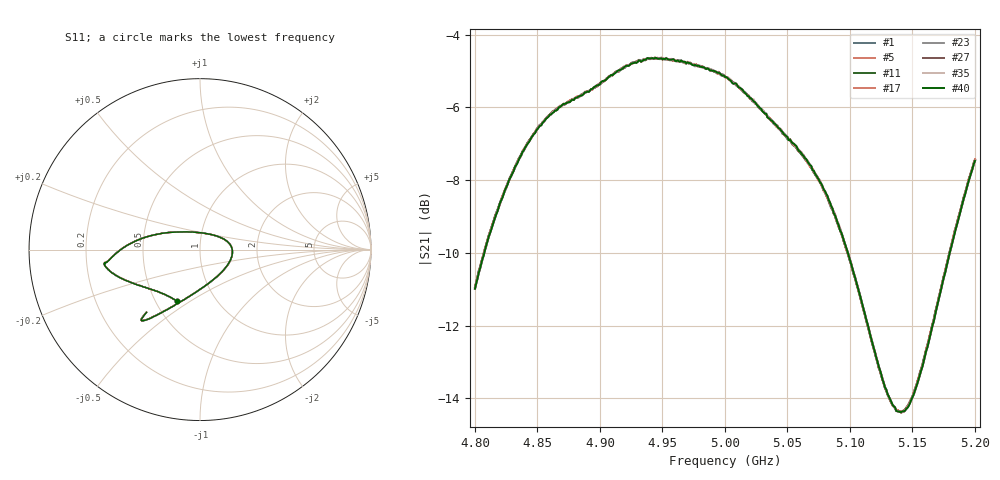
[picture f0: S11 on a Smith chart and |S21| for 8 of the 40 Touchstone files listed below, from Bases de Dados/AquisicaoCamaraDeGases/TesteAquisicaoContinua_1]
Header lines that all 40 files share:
! Network Analyzer HP8722D
! Hewlett-Packard
! Data name: Linha & Wilkinson
! Saver's name: Rodrigo Anjos
! Comments: Teste da utilização de aquisição
! continua pelo VNA HP8722D
!  Frequency  S11  S21  S12  S22
# HZ  S  MA R 50
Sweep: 4.8 GHz to 5.2 GHz
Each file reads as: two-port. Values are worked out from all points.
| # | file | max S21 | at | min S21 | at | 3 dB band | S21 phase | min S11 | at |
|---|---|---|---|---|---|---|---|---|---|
| 1 | teste_arseco&borbulhador_40.S2P | -4.63 dB | 4.949 GHz | -14.4 dB | 5.141 GHz | 4.833 GHz-5.068 GHz | -111 deg at 5 GHz | -20.2 dB | 5.007 GHz |
| 2 | teste_arseco&borbulhador_41.S2P | -4.63 dB | 4.944 GHz | -14.4 dB | 5.141 GHz | 4.832 GHz-5.068 GHz | -111 deg at 5 GHz | -20.2 dB | 5.007 GHz |
| 3 | teste_arseco&borbulhador_42.S2P | -4.64 dB | 4.945 GHz | -14.4 dB | 5.141 GHz | 4.832 GHz-5.068 GHz | -111 deg at 5 GHz | -20.2 dB | 5.007 GHz |
| 4 | teste_arseco&borbulhador_43.S2P | -4.64 dB | 4.941 GHz | -14.4 dB | 5.141 GHz | 4.832 GHz-5.068 GHz | -111 deg at 5 GHz | -20.3 dB | 5.007 GHz |
| 5 | teste_arseco&borbulhador_44.S2P | -4.64 dB | 4.944 GHz | -14.4 dB | 5.141 GHz | 4.832 GHz-5.069 GHz | -111 deg at 5 GHz | -20.2 dB | 5.007 GHz |
| 6 | teste_arseco&borbulhador_45.S2P | -4.63 dB | 4.949 GHz | -14.4 dB | 5.141 GHz | 4.833 GHz-5.068 GHz | -111 deg at 5 GHz | -20.2 dB | 5.007 GHz |
| 7 | teste_arseco&borbulhador_46.S2P | -4.63 dB | 4.941 GHz | -14.4 dB | 5.141 GHz | 4.832 GHz-5.068 GHz | -111 deg at 5 GHz | -20.2 dB | 5.007 GHz |
| 8 | teste_arseco&borbulhador_47.S2P | -4.64 dB | 4.944 GHz | -14.4 dB | 5.141 GHz | 4.832 GHz-5.067 GHz | -111 deg at 5 GHz | -20.2 dB | 5.007 GHz |
| 9 | teste_arseco&borbulhador_48.S2P | -4.63 dB | 4.944 GHz | -14.4 dB | 5.139 GHz | 4.833 GHz-5.068 GHz | -111 deg at 5 GHz | -20.2 dB | 5.007 GHz |
| 10 | teste_arseco&borbulhador_49.S2P | -4.63 dB | 4.944 GHz | -14.4 dB | 5.141 GHz | 4.833 GHz-5.068 GHz | -111 deg at 5 GHz | -20.2 dB | 5.005 GHz |
| 11 | teste_arseco&borbulhador_50.S2P | -4.64 dB | 4.948 GHz | -14.4 dB | 5.141 GHz | 4.832 GHz-5.068 GHz | -111 deg at 5 GHz | -20.2 dB | 5.007 GHz |
| 12 | teste_arseco&borbulhador_51.S2P | -4.64 dB | 4.944 GHz | -14.4 dB | 5.141 GHz | 4.832 GHz-5.068 GHz | -111 deg at 5 GHz | -20.2 dB | 5.007 GHz |
| 13 | teste_arseco&borbulhador_52.S2P | -4.64 dB | 4.946 GHz | -14.4 dB | 5.141 GHz | 4.832 GHz-5.068 GHz | -111 deg at 5 GHz | -20.2 dB | 5.007 GHz |
| 14 | teste_arseco&borbulhador_53.S2P | -4.64 dB | 4.948 GHz | -14.4 dB | 5.141 GHz | 4.832 GHz-5.068 GHz | -111 deg at 5 GHz | -20.2 dB | 5.007 GHz |
| 15 | teste_arseco&borbulhador_54.S2P | -4.63 dB | 4.944 GHz | -14.4 dB | 5.141 GHz | 4.832 GHz-5.068 GHz | -111 deg at 5 GHz | -20.2 dB | 5.007 GHz |
| 16 | teste_arseco&borbulhador_55.S2P | -4.64 dB | 4.949 GHz | -14.4 dB | 5.141 GHz | 4.832 GHz-5.068 GHz | -111 deg at 5 GHz | -20.2 dB | 5.008 GHz |
| 17 | teste_arseco&borbulhador_56.S2P | -4.63 dB | 4.944 GHz | -14.4 dB | 5.141 GHz | 4.833 GHz-5.068 GHz | -111 deg at 5 GHz | -20.2 dB | 5.007 GHz |
| 18 | teste_arseco&borbulhador_57.S2P | -4.63 dB | 4.944 GHz | -14.4 dB | 5.141 GHz | 4.833 GHz-5.068 GHz | -111 deg at 5 GHz | -20.2 dB | 5.007 GHz |
| 19 | teste_arseco&borbulhador_58.S2P | -4.64 dB | 4.945 GHz | -14.4 dB | 5.141 GHz | 4.833 GHz-5.069 GHz | -111 deg at 5 GHz | -20.2 dB | 5.007 GHz |
| 20 | teste_arseco&borbulhador_59.S2P | -4.64 dB | 4.941 GHz | -14.4 dB | 5.139 GHz | 4.833 GHz-5.069 GHz | -111 deg at 5 GHz | -20.2 dB | 5.005 GHz |
| 21 | teste_arseco&borbulhador_60.S2P | -4.63 dB | 4.944 GHz | -14.4 dB | 5.141 GHz | 4.833 GHz-5.069 GHz | -111 deg at 5 GHz | -20.2 dB | 5.007 GHz |
| 22 | teste_arseco&borbulhador_61.S2P | -4.62 dB | 4.944 GHz | -14.4 dB | 5.141 GHz | 4.833 GHz-5.068 GHz | -111 deg at 5 GHz | -20.2 dB | 5.007 GHz |
| 23 | teste_arseco&borbulhador_62.S2P | -4.63 dB | 4.944 GHz | -14.4 dB | 5.141 GHz | 4.833 GHz-5.068 GHz | -111 deg at 5 GHz | -20.1 dB | 5.008 GHz |
| 24 | teste_arseco&borbulhador_63.S2P | -4.63 dB | 4.944 GHz | -14.4 dB | 5.139 GHz | 4.833 GHz-5.069 GHz | -111 deg at 5 GHz | -20.1 dB | 5.007 GHz |
| 25 | teste_arseco&borbulhador_64.S2P | -4.63 dB | 4.942 GHz | -14.4 dB | 5.141 GHz | 4.833 GHz-5.068 GHz | -111 deg at 5 GHz | -20.2 dB | 5.007 GHz |
| 26 | teste_arseco&borbulhador_65.S2P | -4.64 dB | 4.949 GHz | -14.4 dB | 5.14 GHz | 4.833 GHz-5.069 GHz | -111 deg at 5 GHz | -20.1 dB | 5.007 GHz |
| 27 | teste_arseco&borbulhador_66.S2P | -4.63 dB | 4.941 GHz | -14.4 dB | 5.141 GHz | 4.833 GHz-5.069 GHz | -111 deg at 5 GHz | -20.1 dB | 5.008 GHz |
| 28 | teste_arseco&borbulhador_67.S2P | -4.62 dB | 4.944 GHz | -14.4 dB | 5.141 GHz | 4.833 GHz-5.068 GHz | -111 deg at 5 GHz | -20.2 dB | 5.007 GHz |
| 29 | teste_arseco&borbulhador_68.S2P | -4.64 dB | 4.949 GHz | -14.4 dB | 5.142 GHz | 4.833 GHz-5.069 GHz | -111 deg at 5 GHz | -20.2 dB | 5.007 GHz |
| 30 | teste_arseco&borbulhador_69.S2P | -4.64 dB | 4.942 GHz | -14.4 dB | 5.141 GHz | 4.833 GHz-5.069 GHz | -111 deg at 5 GHz | -20.1 dB | 5.007 GHz |
| 31 | teste_arseco&borbulhador_70.S2P | -4.62 dB | 4.944 GHz | -14.4 dB | 5.141 GHz | 4.833 GHz-5.068 GHz | -111 deg at 5 GHz | -20.2 dB | 5.007 GHz |
| 32 | teste_arseco&borbulhador_71.S2P | -4.63 dB | 4.944 GHz | -14.4 dB | 5.141 GHz | 4.833 GHz-5.068 GHz | -111 deg at 5 GHz | -20.2 dB | 5.007 GHz |
| 33 | teste_arseco&borbulhador_72.S2P | -4.64 dB | 4.944 GHz | -14.4 dB | 5.14 GHz | 4.833 GHz-5.068 GHz | -111 deg at 5 GHz | -20.2 dB | 5.007 GHz |
| 34 | teste_arseco&borbulhador_73.S2P | -4.64 dB | 4.946 GHz | -14.4 dB | 5.141 GHz | 4.833 GHz-5.068 GHz | -111 deg at 5 GHz | -20.2 dB | 5.007 GHz |
| 35 | teste_arseco&borbulhador_74.S2P | -4.62 dB | 4.944 GHz | -14.4 dB | 5.141 GHz | 4.833 GHz-5.069 GHz | -111 deg at 5 GHz | -20.2 dB | 5.007 GHz |
| 36 | teste_arseco&borbulhador_75.S2P | -4.64 dB | 4.944 GHz | -14.4 dB | 5.141 GHz | 4.833 GHz-5.068 GHz | -111 deg at 5 GHz | -20.2 dB | 5.007 GHz |
| 37 | teste_arseco&borbulhador_76.S2P | -4.64 dB | 4.947 GHz | -14.4 dB | 5.141 GHz | 4.833 GHz-5.069 GHz | -111 deg at 5 GHz | -20.1 dB | 5.007 GHz |
| 38 | teste_arseco&borbulhador_77.S2P | -4.64 dB | 4.944 GHz | -14.4 dB | 5.142 GHz | 4.833 GHz-5.069 GHz | -111 deg at 5 GHz | -20.1 dB | 5.007 GHz |
| 39 | teste_arseco&borbulhador_78.S2P | -4.65 dB | 4.944 GHz | -14.4 dB | 5.141 GHz | 4.833 GHz-5.069 GHz | -111 deg at 5 GHz | -20.2 dB | 5.007 GHz |
| 40 | teste_arseco&borbulhador_79.S2P | -4.64 dB | 4.944 GHz | -14.4 dB | 5.141 GHz | 4.832 GHz-5.069 GHz | -111 deg at 5 GHz | -20.1 dB | 5.007 GHz |
